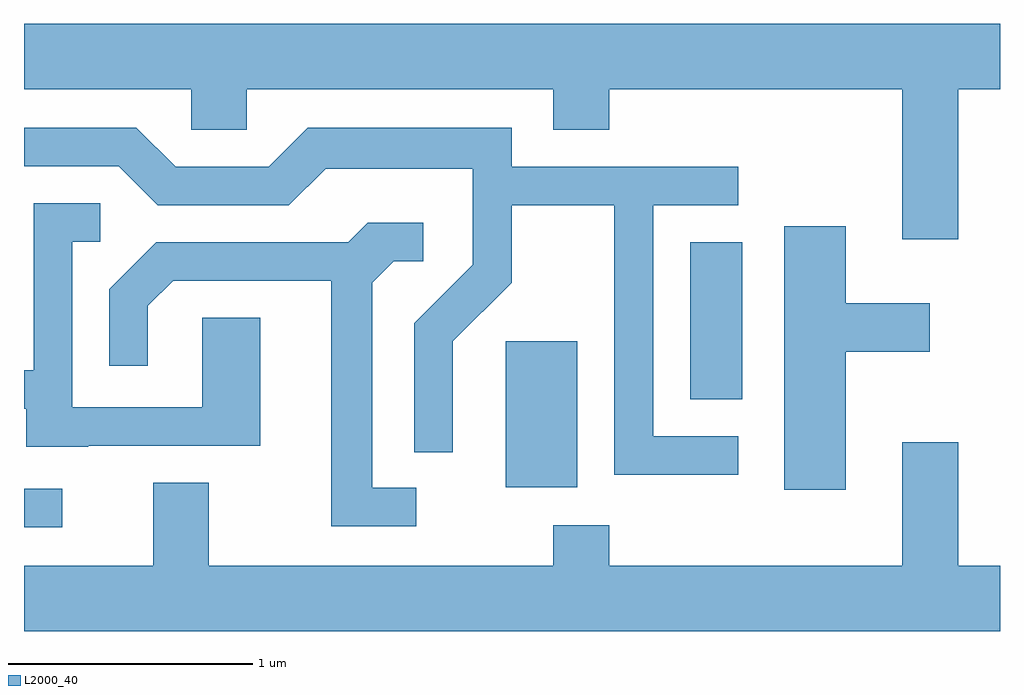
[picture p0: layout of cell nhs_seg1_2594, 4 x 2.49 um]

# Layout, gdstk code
import gdstk
lib = gdstk.Library(unit=1e-6, precision=1e-09)
def R(c, l, rs):  # rectangles x0, y0, x1, y1
    for r in rs: c.add(gdstk.rectangle(r[:2], r[2:], *l))
def P(c, l, *ps):  # polygons
    for p in ps: c.add(gdstk.Polygon(p, *l))
L2000_40 = (2000, 40)

nhs_seg1_2594 = lib.new_cell('nhs_seg1_2594')
R(nhs_seg1_2594, L2000_40, [(263.611,935.521,263.768,935.679), (265.586,935.686,265.879,936.284), (266.341,936.046,266.554,936.689)])
P(nhs_seg1_2594, L2000_40, [(267.439,937.316),(267.611,937.316),(267.611,937.584),(263.611,937.584),(263.611,937.316),(264.296,937.316),(264.296,937.151),(264.524,937.151),(264.524,937.316),(265.781,937.316),(265.781,937.151),(266.009,937.151),(266.009,937.316),(267.211,937.316),(267.211,936.701),(267.439,936.701)],
  [(266.538,935.894),(266.189,935.894),(266.189,936.841),(266.538,936.841),(266.538,936.999),(265.609,936.999),(265.609,937.159),(264.774,937.159),(264.614,936.999),(264.232,936.999),(264.072,937.159),(263.611,937.159),(263.611,937.001),(263.999,937.001),(264.159,936.841),(264.697,936.841),(264.847,936.991),(265.451,936.991),(265.451,936.597),(265.211,936.357),(265.211,935.828),(265.369,935.828),(265.369,936.284),(265.609,936.524),(265.609,936.841),(266.031,936.841),(266.031,935.736),(266.538,935.736)],
  [(263.875,935.856),(264.579,935.856),(264.579,936.379),(264.341,936.379),(264.341,936.014),(263.809,936.014),(263.809,936.691),(263.923,936.691),(263.923,936.849),(263.651,936.849),(263.651,936.164),(263.611,936.164),(263.611,936.006),(263.621,936.006),(263.621,935.851),(263.875,935.851)],
  [(265.218,935.684),(265.039,935.684),(265.039,936.524),(265.127,936.611),(265.248,936.611),(265.248,936.769),(265.019,936.769),(264.939,936.689),(264.154,936.689),(263.961,936.497),(263.961,936.183),(264.119,936.183),(264.119,936.429),(264.222,936.531),(264.871,936.531),(264.871,935.526),(265.218,935.526)],
  [(266.979,936.241),(267.324,936.241),(267.324,936.439),(266.979,936.439),(266.979,936.754),(266.726,936.754),(266.726,935.676),(266.979,935.676)],
  [(267.611,935.364),(267.439,935.364),(267.439,935.869),(267.211,935.869),(267.211,935.364),(266.009,935.364),(266.009,935.529),(265.781,935.529),(265.781,935.364),(264.369,935.364),(264.369,935.704),(264.141,935.704),(264.141,935.364),(263.611,935.364),(263.611,935.096),(267.611,935.096)])

lib.write_gds('nhs_seg1_2594.gds')
